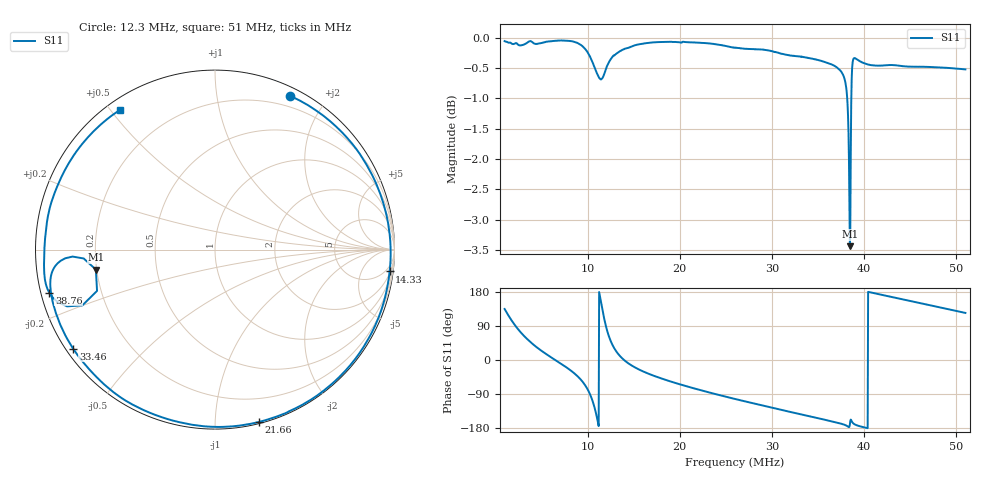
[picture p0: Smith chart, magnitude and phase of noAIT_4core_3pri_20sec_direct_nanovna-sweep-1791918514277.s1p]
! NanoVNA Web complex sweep
! Processing: unaveraged complex samples; linear segment spacing; no smoothing
# Hz S RI R 50
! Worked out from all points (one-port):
!   1010 points, 1 MHz to 51 MHz, reference 50 ohm
!   lowest |S11| = -3.4 dB at 38.46 MHz (marker M1), VSWR 5.12, Z = 9.84 - j4 ohm
!   |S11| at or under -10 dB: nowhere
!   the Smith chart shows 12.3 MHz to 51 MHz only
!   S11 on the Smith chart (normalised r, x): 12.3 MHz: 0.08, +1.60; 14.33 MHz: 2, -16; 21.66 MHz: 0.01, -1.29; 33.46 MHz: 0.02, -0.31; 38.76 MHz: 0.02, -0.13; 51 MHz: 0.04, +0.53
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1000000  -0.6984 0.7068
2238850  0.0333 0.9895
3923686  0.704 0.7003
5509414  0.9553 0.2693
7293358  0.971 -0.2167
9077302  0.6769 -0.7205
1.021704e7  0.0393 -0.9657
1.076214e7  -0.5525 -0.7671
1.120812e7  -0.9237 -0.0912
1.145589e7  -0.8245 0.4167
1.175322e7  -0.3975 0.8419
1.200099e7  0.0218 0.9423
1.229831e7  0.4201 0.8565
1.284341e7  0.8075 0.5318
1.353716e7  0.9603 0.168
1.433003e7  0.9731 -0.1219
1.660951e7  0.7995 -0.5845
1.978097e7  0.4582 -0.8795
2.166402e7  0.2459 -0.9601
2.602477e7  -0.2208 -0.9563
3.226857e7  -0.7238 -0.6399
3.345787e7  -0.79 -0.552
3.747174e7  -0.9175 -0.1984
3.846282e7  -0.6638 -0.1111
3.851238e7  -0.6571 -0.2301
3.876015e7  -0.9231 -0.2401
4.475618e7  -0.8716 0.3696
5.099999e7  -0.5298 0.7785
